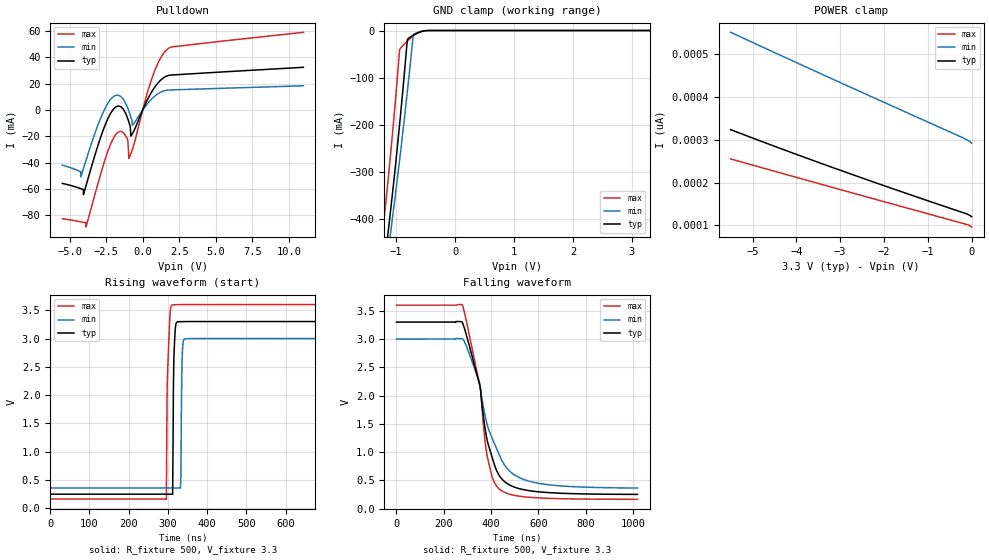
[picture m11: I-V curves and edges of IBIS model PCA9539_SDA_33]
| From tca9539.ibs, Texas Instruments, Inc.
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[Model]   PCA9539_SDA_33
Model_type  I/O_open_drain
Vinl=0.9
Vinh=2.52
Enable   Active-Low
Vref =   3.3V
Rref =   1k
Cref =   50p
Vmeas =   1.65
| variable   typ   min   max
C_comp   2.83pF   1.92pF   6.05pF
| C_pulldown   1.24pF   0.01pF   2.17pF
| C_tri-state   2.83pF   1.92pF   6.05pF
[Temperature Range]   40   100   -40
| Ambient temperature   25   85   -40
[Voltage range]   3.3   3   3.6
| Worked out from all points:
|   slope of the pulldown table from 0 to 0.495 V, typ, clamps not added: 43.2 ohm
|   GND clamp passes 1 mA (typ) near -0.54 V on its own axis
|   rising waveform, R_fixture 500, V_fixture 3.3: 20-80 % time 2.73ns typ, 2.35ns min, 5.36ns max; typ from 0.247 V to 3.3 V
|   falling waveform, R_fixture 500, V_fixture 3.3: 20-80 % time 87.8ns typ, 111ns min, 71.9ns max; typ from 3.3 V to 0.249 V
[GND Clamp]
| PCA9539_SDA_33
|   Voltage   I(typ)   I(min)   I(max)
-5.5V     -2.312A    -2.337A    -2.193A
-1.25V    -543.5mA   -570.3mA   -448.7mA
-1.215V   -508.3mA   -539.1mA   -408.9mA
-1.14V    -429.8mA   -470.1mA   -318.6mA
-1.105V   -391.6mA   -437mA     -273.9mA
-1.085V   -369.2mA   -417.7mA   -247.5mA
-1.02V    -294.1mA   -353.7mA   -157.3mA
-945mV    -201.7mA   -276.7mA   -43.16mA
-810mV    -18.61mA   -128.2mA   -22.4mA
-710mV    -10.04mA   -8.533mA   -10.85mA
-460mV    -11.81uA   -26.04uA   -3.816uA
3.3V      120.4pA    308.7pA    85.1pA
[POWER Clamp]
| PCA9539_SDA_33
|   Voltage   I(typ)   I(min)   I(max)
-5.5V     323.1pA    549.8pA    254.9pA
-4.35V    278.7pA    495.6pA    221.9pA
-2.99V    228.2pA    432.4pA    183.3pA
-1.65V    180.2pA    370.6pA    145.4pA
-145mV    128pA      301.4pA    103.2pA
-55mV     124pA      296pA      100pA
-95.1fV   120.4pA    291.9pA    96.03pA
[Pulldown]
| PCA9539_SDA_33
|   Voltage   I(typ)   I(min)   I(max)
-5.5V     -55.66mA   -41.8mA    -82.53mA
-4.235V   -59.62mA   -50.82mA   -84.79mA
-3.885V   -57.6mA    -38.33mA   -88.86mA
-2.64V    -13.31mA   -190uA     -39.79mA
-1.735V   2.908mA    11.31mA    -17.29mA
-1.025V   -6.474mA   1.564mA    -22.36mA
-940mV    -9.319mA   -953.4uA   -36.66mA
-800mV    -19.64mA   -5.587mA   -32.75mA
-700mV    -17.83mA   -11.37mA   -29.7mA
660mV     14.6mA     8.915mA    25.01mA
1.72V     26.15mA    15.19mA    46.49mA
11V       32.48mA    18.44mA    59.03mA
[Ramp]
| PCA9539_SDA_33
| variable   typ   min   max
dV/dt_r   1.84/2.56E-09   1.59/2.25E-09   2.08/5.20E-09
dV/dt_f   1.84/8.81E-08   1.59/1.11E-07   2.07/7.23E-08
R_load = 500
[Rising Waveform]
| PCA9539_SDA_33
R_fixture =   500
C_fixture =   0
L_fixture =   0
V_fixture =   3.3
V_fixture_min = 3
V_fixture_max = 3.6
|   Time   V(typ)   V(min)   V(max)
0s        247.1mV    356.9mV    161.2mV
296ns     247.1mV    356.9mV    155.8mV
298ns     247.1mV    356.9mV    2.146V
310ns     247.1mV    356.9mV    3.591V
315ns     2.596V     356.9mV    3.596V
323ns     3.29V      356.9mV    3.599V
332ns     3.298V     357.3mV    3.6V
336ns     3.299V     2.585V     3.6V
342ns     3.299V     2.99V      3.6V
1.019us   3.3V       3V         3.6V
[Falling Waveform]
| PCA9539_SDA_33
R_fixture =   500
C_fixture =   0
L_fixture =   0
V_fixture =   3.3
V_fixture_min = 3
V_fixture_max = 3.6
|   Time   V(typ)   V(min)   V(max)
0s        3.3V       3V         3.6V
278ns     3.294V     3.006V     3.605V
355ns     2.107V     2.115V     2.123V
371ns     1.518V     1.718V     1.322V
384ns     1.197V     1.477V     916.3mV
408ns     856.9mV    1.21V      517.6mV
438ns     561.7mV    919.8mV    333.9mV
489ns     394.2mV    623.7mV    241.4mV
577ns     306.3mV    465.7mV    193.4mV
1.019us   249.4mV    361.7mV    162.3mV
